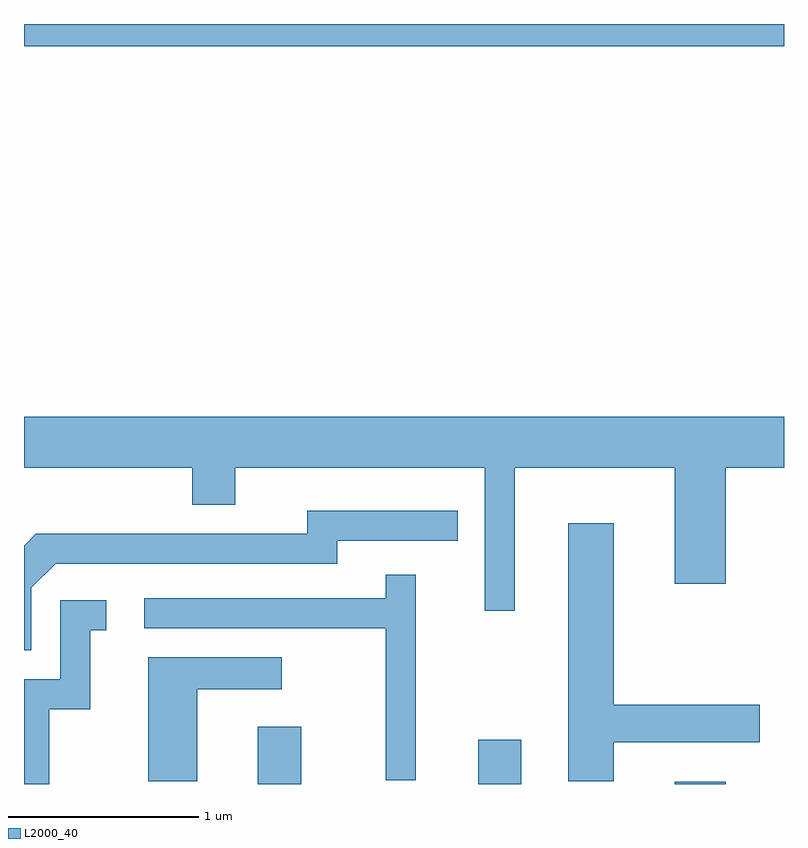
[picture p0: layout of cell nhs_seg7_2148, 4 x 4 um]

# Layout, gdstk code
import gdstk
lib = gdstk.Library(unit=1e-6, precision=1e-09)
def R(c, l, rs):  # rectangles x0, y0, x1, y1
    for r in rs: c.add(gdstk.rectangle(r[:2], r[2:], *l))
def P(c, l, *ps):  # polygons
    for p in ps: c.add(gdstk.Polygon(p, *l))
L2000_40 = (2000, 40)

nhs_seg7_2148 = lib.new_cell('nhs_seg7_2148')
R(nhs_seg7_2148, L2000_40, [(252.841,1668.252,253.069,1668.554), (254.001,1668.252,254.229,1668.484), (255.036,1668.252,255.304,1668.264), (251.611,1672.136,255.611,1672.252)])
P(nhs_seg7_2148, L2000_40, [(251.611,1669.916),(252.496,1669.916),(252.496,1669.721),(252.724,1669.721),(252.724,1669.916),(254.036,1669.916),(254.036,1669.163),(254.194,1669.163),(254.194,1669.916),(255.036,1669.916),(255.036,1669.306),(255.304,1669.306),(255.304,1669.916),(255.611,1669.916),(255.611,1670.184),(251.611,1670.184)],
  [(251.649,1669.284),(251.777,1669.411),(253.259,1669.411),(253.259,1669.531),(253.893,1669.531),(253.893,1669.689),(253.101,1669.689),(253.101,1669.569),(251.674,1669.569),(251.611,1669.506),(251.611,1668.956),(251.649,1668.956)],
  [(254.714,1668.471),(255.484,1668.471),(255.484,1668.669),(254.714,1668.669),(254.714,1669.624),(254.476,1669.624),(254.476,1668.266),(254.714,1668.266)],
  [(253.674,1669.353),(253.516,1669.353),(253.516,1669.229),(252.243,1669.229),(252.243,1669.071),(253.516,1669.071),(253.516,1668.273),(253.674,1668.273)],
  [(251.744,1668.646),(251.959,1668.646),(251.959,1669.061),(252.043,1669.061),(252.043,1669.219),(251.801,1669.219),(251.801,1668.804),(251.611,1668.804),(251.611,1668.252),(251.744,1668.252)],
  [(252.524,1668.751),(252.968,1668.751),(252.968,1668.919),(252.266,1668.919),(252.266,1668.266),(252.524,1668.266)])

lib.write_gds('nhs_seg7_2148.gds')
